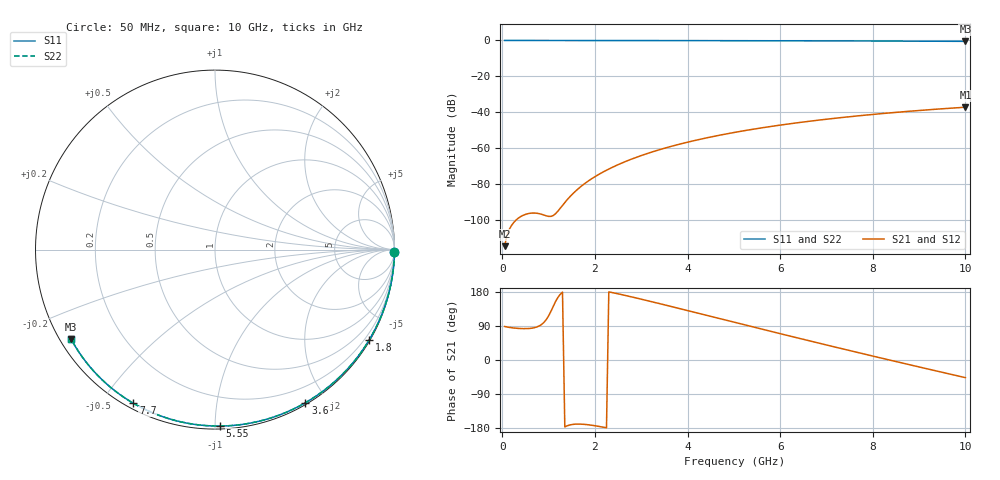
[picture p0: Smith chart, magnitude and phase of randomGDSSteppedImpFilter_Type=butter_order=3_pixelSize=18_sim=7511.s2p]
! freq	dB(S11)	phase(S11)	dB(S12)	phase(S12)
!  dB(S21)	phase(S21)	dB(S22)	phase(S22)
!S-par simulation data
#  GHz  S  DB  R 50
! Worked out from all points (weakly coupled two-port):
!   200 points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, 50 MHz to 10 GHz, reference 50 ohm
!   highest |S21| = -37.21 dB at 10 GHz (marker M1); lowest = -114.7 dB at 50 MHz (marker M2)
!   lowest |S11| = -0.5 dB at 10 GHz (marker M3), VSWR 34.85, Z = 1.55 - j14.3 ohm
!   |S11| at or under -10 dB: nowhere
!   |S22| runs from -0.5 to 0.0 dB; largest |S21 - S12| = 0
!   S11 on the Smith chart (normalised r, x): 50 MHz: open; 1.8 GHz: 0.03, -3.67; 3.6 GHz: 0.02, -1.75; 5.55 GHz: 0.02, -1.03; 7.7 GHz: 0.02, -0.60; 10 GHz: 0.03, -0.29
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0.05  -0.00 -0.9  -114.66 88.5  -114.66 88.5  -0.00 -0.9
0.45  -0.01 -7.7  -97.46 82.8  -97.46 82.8  -0.01 -7.7
0.9  -0.02 -15.4  -97.32 99.3  -97.32 99.3  -0.02 -15.4
1.3  -0.03 -22.2  -91.92 179.1  -91.92 179.1  -0.03 -22.2
1.75  -0.04 -29.7  -80.34 -169.6  -80.34 -169.6  -0.04 -29.7
1.8  -0.04 -30.5  -79.38 -170.2  -79.38 -170.2  -0.04 -30.5
1.95  -0.04 -33.0  -76.74 -172.5  -76.74 -172.5  -0.04 -33.0
2.1  -0.05 -35.5  -74.42 -175.4  -74.42 -175.4  -0.05 -35.4
2.3  -0.05 -38.7  -71.66 179.8  -71.66 179.8  -0.05 -38.7
2.5  -0.05 -42.0  -69.23 174.7  -69.23 174.7  -0.05 -42.0
2.9  -0.06 -48.4  -65.08 163.4  -65.08 163.4  -0.06 -48.4
3.4  -0.07 -56.3  -60.84 148.7  -60.84 148.7  -0.07 -56.3
3.6  -0.08 -59.4  -59.36 142.6  -59.36 142.6  -0.08 -59.4
4.3  -0.10 -70.2  -54.91 121.3  -54.91 121.3  -0.10 -70.2
5.05  -0.12 -81.3  -51.08 98.4  -51.08 98.4  -0.12 -81.3
5.55  -0.14 -88.5  -48.92 83.1  -48.92 83.1  -0.14 -88.5
6.1  -0.17 -96.2  -46.82 66.5  -46.82 66.5  -0.17 -96.2
6.7  -0.20 -104.5  -44.81 48.5  -44.81 48.5  -0.20 -104.5
7.7  -0.27 -118.0  -41.98 19.1  -41.98 19.1  -0.27 -118.0
8.35  -0.32 -126.5  -40.41 0.2  -40.41 0.2  -0.32 -126.5
9.2  -0.41 -137.6  -38.64 -24.0  -38.64 -24.0  -0.41 -137.6
10  -0.50 -148.1  -37.21 -46.6  -37.21 -46.6  -0.50 -148.1
